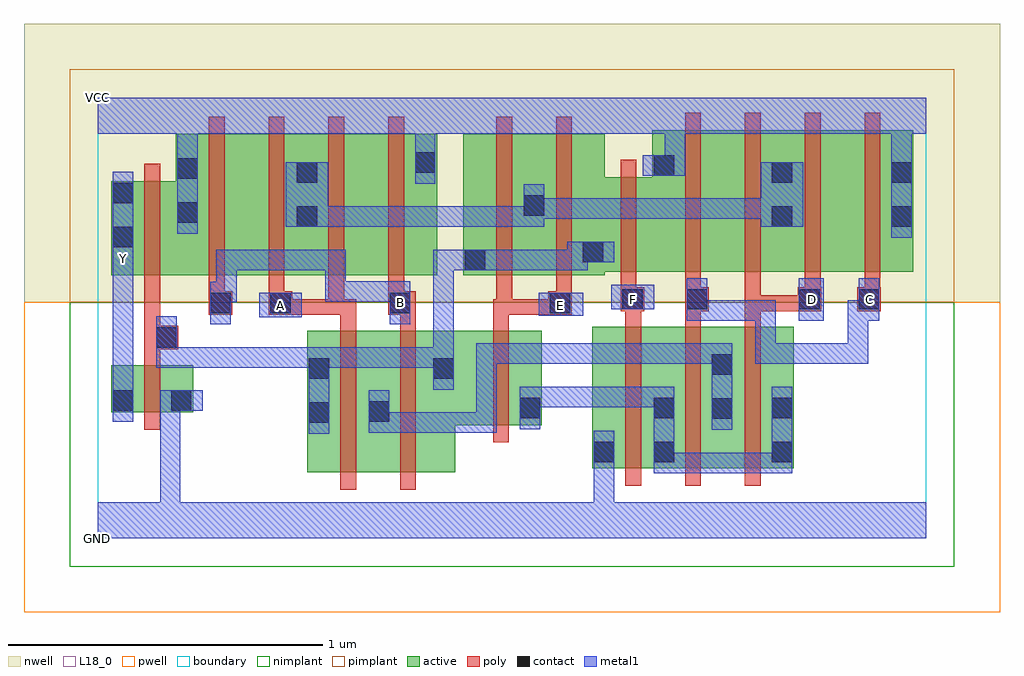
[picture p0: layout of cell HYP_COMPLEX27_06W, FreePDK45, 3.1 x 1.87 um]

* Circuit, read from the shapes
.subckt HYP_COMPLEX27_06W A B C D E F GND VCC Y
M1 GND n1 Y VSUBS nfet w=0.15u l=0.05u
M2 n2 A n1 VSUBS nfet w=0.45u l=0.05u
M3 n1 B n2 VSUBS nfet w=0.45u l=0.05u
M4 n3 E n1 VSUBS nfet w=0.3u l=0.05u
M5 n3 F GND VSUBS nfet w=0.45u l=0.05u
M6 n2 C n3 VSUBS nfet w=0.45u l=0.05u
M7 n3 D n2 VSUBS nfet w=0.45u l=0.05u
M8 VCC n1 Y n4 pfet w=0.3u l=0.05u
M9 n5 B VCC n4 pfet w=0.45u l=0.05u
M10 n6 A n5 n4 pfet w=0.45u l=0.05u
M11 n7 A n6 n4 pfet w=0.45u l=0.05u
M12 VCC B n7 n4 pfet w=0.45u l=0.05u
M13 n6 E n1 n4 pfet w=0.45u l=0.05u m=2
M14 VCC F n1 n4 pfet w=0.3u l=0.05u
M15 n8 C VCC n4 pfet w=0.45u l=0.05u
M16 n6 D n8 n4 pfet w=0.45u l=0.05u
M17 n9 D n6 n4 pfet w=0.45u l=0.05u
M18 VCC C n9 n4 pfet w=0.45u l=0.05u
.ends

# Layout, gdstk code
import gdstk
lib = gdstk.Library(unit=1e-6, precision=1e-09)
def R(c, l, rs):  # rectangles x0, y0, x1, y1
    for r in rs: c.add(gdstk.rectangle(r[:2], r[2:], *l))
def A(c, l, x, y, w, h, nx, ny, dx, dy):  # array of equal rectangles
    R(c, l, [(x+i*dx, y+j*dy, x+i*dx+w, y+j*dy+h) for i in range(nx) for j in range(ny)])
active = (1, 0)
pwell = (2, 0)
nwell = (3, 0)
nimplant = (4, 0)
pimplant = (5, 0)
poly = (9, 0)
contact = (10, 0)
metal1 = (11, 0)
L18_0 = (18, 0)
boundary = (235, 0)

hyp_complex27_06w = lib.new_cell('HYP_COMPLEX27_06W')
R(hyp_complex27_06w, active, [(0.665,0.21,0.93,0.66), (0.855,0.21,1.135,0.66), (1.57,0.222,1.835,0.672), (1.57,0.222,1.645,0.542), (1.76,0.222,2.02,0.672), (1.945,0.222,2.21,0.672), (2.135,0.222,2.21,0.672), (1.76,0.232,1.835,0.542), (0.665,0.245,0.74,0.66), (0.855,0.245,0.93,0.542), (1.945,0.245,2.02,0.59), (1.06,0.33,1.135,0.577), (1.06,0.36,1.41,0.66), (1.335,0.36,1.41,0.547), (0.042,0.4,0.117,0.55), (0.042,0.4,0.302,0.55), (0.227,0.4,0.302,0.55), (0.042,0.835,0.322,1.135), (0.042,0.835,0.117,1.135), (0.247,0.835,0.472,1.285), (0.247,0.835,0.322,1.212), (0.472,0.835,0.702,1.285), (0.627,0.835,0.852,1.285), (0.852,0.835,1.077,1.285), (1.16,0.835,1.422,1.285), (1.16,0.835,1.235,1.047), (1.347,0.835,1.61,1.285), (1.535,0.847,1.835,1.147), (1.76,0.847,1.985,1.297), (1.985,0.847,2.21,1.297), (2.135,0.847,2.365,1.297), (2.365,0.847,2.59,1.297), (2.515,0.847,2.59,1.255), (1.76,0.852,1.835,1.222), (0.627,0.857,0.702,1.2), (1.002,0.857,1.077,1.255), (1.347,0.857,1.422,1.2), (2.135,0.857,2.21,1.2), (1.535,0.872,1.61,1.07)])
R(hyp_complex27_06w, pwell, [(-0.235,-0.235,2.865,0.75)])
R(hyp_complex27_06w, nwell, [(-0.235,0.75,2.865,1.635)])
R(hyp_complex27_06w, nimplant, [(-0.09,-0.09,2.72,0.75)])
R(hyp_complex27_06w, pimplant, [(-0.09,0.75,2.72,1.49)])
A(hyp_complex27_06w, poly, 1.675, 0.167, 0.05, 0.56, 3, 1, 0.19, 0)
A(hyp_complex27_06w, poly, 1.675, 0.677, 0.05, 0.095, 3, 1, 0.19, 0)
A(hyp_complex27_06w, poly, 0.352, 0.78, 0.05, 0.56, 4, 1, 0.19, 0)
A(hyp_complex27_06w, poly, 1.865, 0.792, 0.05, 0.56, 4, 1, 0.19, 0)
R(hyp_complex27_06w, poly, [(0.77,0.155,0.82,0.715), (0.96,0.155,1.01,0.715), (1.255,0.305,1.305,0.715), (0.147,0.345,0.197,0.605), (0.147,0.555,0.197,0.65), (0.147,0.6,0.255,0.675), (0.147,0.625,0.197,0.83), (0.77,0.665,0.82,0.76), (0.96,0.665,1.01,0.76), (1.255,0.665,1.305,0.76), (0.352,0.71,0.427,0.785), (0.542,0.71,0.617,0.785), (0.567,0.71,0.617,0.76), (0.567,0.71,0.617,0.76), (0.567,0.71,0.782,0.76), (0.732,0.71,0.782,0.83), (0.732,0.71,0.82,0.76), (0.922,0.71,1.01,0.785), (1.255,0.71,1.315,0.76), (1.265,0.71,1.315,0.76), (1.265,0.71,1.315,0.76), (1.265,0.71,1.315,0.83), (1.265,0.71,1.48,0.76), (1.43,0.71,1.505,0.785), (1.66,0.722,1.735,0.797), (1.865,0.722,1.94,0.797), (2.055,0.722,2.272,0.772), (2.055,0.722,2.105,0.772), (2.055,0.722,2.105,0.772), (2.055,0.722,2.105,0.772), (2.055,0.722,2.105,0.842), (2.222,0.722,2.297,0.797), (2.412,0.722,2.487,0.797), (0.352,0.735,0.402,0.83), (0.542,0.735,0.592,0.83), (0.922,0.735,0.972,0.83), (1.455,0.735,1.505,0.83), (1.66,0.747,1.71,0.842), (1.865,0.747,1.915,0.842), (2.245,0.747,2.295,0.842), (2.435,0.747,2.485,0.842), (0.147,0.78,0.197,1.19), (1.265,0.78,1.315,1.34), (1.455,0.78,1.505,1.34), (1.66,0.792,1.71,1.202)])
R(hyp_complex27_06w, contact, [(1.575,0.242,1.64,0.307), (1.765,0.242,1.83,0.307), (2.14,0.242,2.205,0.307), (0.67,0.367,0.735,0.432), (0.86,0.37,0.925,0.435), (1.95,0.38,2.015,0.445), (1.34,0.382,1.405,0.447), (1.765,0.382,1.83,0.447), (2.14,0.382,2.205,0.447), (0.047,0.405,0.112,0.47), (0.232,0.405,0.297,0.47), (0.67,0.507,0.735,0.572), (1.065,0.507,1.13,0.572), (1.95,0.52,2.015,0.585), (0.185,0.605,0.25,0.67), (0.357,0.715,0.422,0.78), (0.547,0.715,0.612,0.78), (0.927,0.715,0.992,0.78), (1.435,0.715,1.5,0.78), (1.665,0.727,1.73,0.792), (1.87,0.727,1.935,0.792), (2.227,0.727,2.292,0.792), (2.417,0.727,2.482,0.792), (1.165,0.852,1.23,0.917), (1.54,0.877,1.605,0.942), (0.047,0.925,0.112,0.99), (0.632,0.99,0.697,1.055), (2.14,0.99,2.205,1.055), (2.52,0.99,2.585,1.055), (0.252,1.002,0.317,1.067), (1.352,1.025,1.417,1.09), (0.047,1.065,0.112,1.13), (0.632,1.13,0.697,1.195), (2.14,1.13,2.205,1.195), (2.52,1.13,2.585,1.195), (0.252,1.142,0.317,1.207), (1.765,1.152,1.83,1.217), (1.007,1.162,1.072,1.227)])
R(hyp_complex27_06w, metal1, [(0,0,2.63,0.115), (0.197,0.05,0.262,0.47), (1.575,0.05,1.64,0.272), (1.575,0.207,1.64,0.342), (1.575,0.207,1.64,0.272), (1.575,0.207,1.64,0.272), (1.765,0.207,1.83,0.482), (1.765,0.207,1.83,0.272), (1.765,0.207,1.83,0.272), (1.765,0.207,2.015,0.272), (1.95,0.207,2.015,0.272), (1.95,0.207,2.072,0.272), (2.007,0.207,2.072,0.272), (2.007,0.207,2.205,0.272), (2.14,0.207,2.205,0.482), (0.67,0.332,0.735,0.607), (0.86,0.335,0.925,0.47), (0.86,0.335,1.057,0.4), (0.992,0.335,1.057,0.4), (0.992,0.335,1.062,0.4), (0.997,0.335,1.062,0.4), (0.997,0.335,1.267,0.4), (1.202,0.335,1.267,0.4), (1.202,0.335,1.267,0.62), (1.95,0.345,2.015,0.62), (1.34,0.347,1.405,0.482), (0.047,0.37,0.112,0.505), (0.197,0.405,0.262,0.47), (0.197,0.405,0.262,0.47), (0.197,0.405,0.262,0.47), (0.197,0.405,0.262,0.47), (0.197,0.405,0.262,0.47), (0.197,0.405,0.262,0.47), (0.197,0.405,0.332,0.47), (1.34,0.417,1.555,0.482), (1.49,0.417,1.555,0.482), (1.49,0.417,1.555,0.482), (1.49,0.417,1.555,0.482), (1.49,0.417,1.692,0.482), (1.627,0.417,1.692,0.482), (1.627,0.417,1.83,0.482), (0.047,0.44,0.112,0.887), (1.065,0.472,1.13,0.607), (0.185,0.542,0.25,0.607), (0.185,0.542,0.422,0.607), (0.185,0.542,0.25,0.635), (0.357,0.542,0.422,0.607), (0.357,0.542,0.512,0.607), (0.447,0.542,0.512,0.607), (0.447,0.542,0.56,0.607), (0.495,0.542,0.56,0.607), (0.495,0.542,0.735,0.607), (0.67,0.542,0.855,0.607), (0.79,0.542,0.855,0.607), (0.79,0.542,0.925,0.607), (0.86,0.542,0.925,0.607), (0.86,0.542,1.057,0.607), (0.992,0.542,1.057,0.607), (0.992,0.542,1.13,0.607), (1.065,0.542,1.13,0.917), (1.202,0.555,1.267,0.62), (1.202,0.555,1.28,0.62), (1.215,0.555,1.28,0.62), (1.215,0.555,1.417,0.62), (1.352,0.555,1.417,0.62), (1.352,0.555,1.417,0.62), (1.352,0.555,1.417,0.62), (1.352,0.555,1.582,0.62), (1.517,0.555,1.582,0.62), (1.517,0.555,1.692,0.62), (1.627,0.555,1.692,0.62), (1.627,0.555,1.832,0.62), (1.767,0.555,1.832,0.62), (1.767,0.555,1.832,0.62), (1.767,0.555,1.832,0.62), (1.767,0.555,2.015,0.62), (2.087,0.555,2.152,0.757), (2.087,0.555,2.152,0.62), (2.087,0.555,2.29,0.62), (2.225,0.555,2.29,0.62), (2.225,0.555,2.447,0.62), (2.382,0.555,2.447,0.757), (2.382,0.555,2.447,0.62), (0.185,0.57,0.25,0.705), (0.185,0.57,0.25,0.635), (0.185,0.57,0.25,0.635), (0.357,0.68,0.422,0.815), (0.927,0.68,0.992,0.817), (1.87,0.692,1.935,0.827), (1.87,0.692,2.015,0.757), (1.95,0.692,2.015,0.757), (1.95,0.692,2.152,0.757), (2.087,0.692,2.152,0.757), (2.087,0.692,2.152,0.757), (2.087,0.692,2.152,0.757), (2.225,0.692,2.305,0.827), (2.382,0.692,2.482,0.757), (2.382,0.692,2.447,0.757), (2.417,0.692,2.482,0.827), (0.512,0.702,0.647,0.78), (1.4,0.707,1.542,0.78), (1.63,0.727,1.767,0.805), (0.357,0.75,0.44,0.815), (0.375,0.75,0.44,0.815), (0.375,0.75,0.44,0.917), (0.722,0.752,0.787,0.817), (0.722,0.752,0.787,0.817), (0.722,0.752,0.787,0.817), (0.722,0.752,0.925,0.817), (0.722,0.752,0.787,0.917), (0.86,0.752,0.925,0.817), (0.86,0.752,0.992,0.817), (0.047,0.822,0.112,0.957), (0.375,0.852,0.44,0.917), (0.375,0.852,0.56,0.917), (0.495,0.852,0.56,0.917), (0.495,0.852,0.787,0.917), (0.722,0.852,0.787,0.917), (1.065,0.852,1.13,0.917), (1.065,0.852,1.195,0.917), (1.13,0.852,1.195,0.917), (1.13,0.852,1.195,0.917), (1.13,0.852,1.265,0.917), (1.2,0.852,1.28,0.917), (1.215,0.852,1.28,0.917), (1.215,0.852,1.417,0.917), (1.352,0.852,1.417,0.917), (1.352,0.852,1.555,0.917), (1.49,0.852,1.555,0.942), (1.49,0.877,1.57,0.942), (1.505,0.877,1.64,0.942), (0.047,0.89,0.112,1.165), (0.047,0.892,0.112,0.957), (2.52,0.955,2.585,1.23), (0.252,0.967,0.317,1.242), (0.597,0.99,0.732,1.195), (0.667,0.99,0.855,1.055), (0.79,0.99,0.855,1.055), (0.79,0.99,0.925,1.055), (0.86,0.99,0.925,1.055), (0.86,0.99,1.012,1.055), (0.947,0.99,1.012,1.055), (0.947,0.99,1.142,1.055), (1.077,0.99,1.142,1.055), (1.077,0.99,1.267,1.055), (1.202,0.99,1.267,1.055), (1.202,0.99,1.28,1.055), (1.215,0.99,1.28,1.055), (1.215,0.99,1.417,1.055), (1.352,0.99,1.417,1.125), (2.105,0.99,2.24,1.195), (1.352,1.015,1.417,1.08), (1.352,1.015,1.417,1.08), (1.352,1.015,1.577,1.08), (1.512,1.015,1.577,1.08), (1.512,1.015,1.692,1.08), (1.627,1.015,1.692,1.08), (1.627,1.015,1.83,1.08), (1.765,1.015,1.83,1.08), (1.765,1.015,1.83,1.08), (1.765,1.015,1.83,1.08), (1.765,1.015,1.83,1.08), (1.765,1.015,1.83,1.08), (1.765,1.015,1.97,1.08), (1.905,1.015,1.97,1.08), (1.905,1.015,2.072,1.08), (2.007,1.015,2.072,1.08), (2.007,1.015,2.17,1.08), (1.007,1.127,1.072,1.262), (1.73,1.152,1.865,1.217), (1.8,1.152,1.865,1.35), (2.52,1.165,2.585,1.35), (0.252,1.177,0.317,1.35), (1.007,1.197,1.072,1.35), (0,1.285,2.63,1.4)])
R(hyp_complex27_06w, L18_0, [(0,0,2.63,0.115), (0.197,0.05,0.262,0.47), (1.575,0.05,1.64,0.272), (1.575,0.207,1.64,0.342), (1.575,0.207,1.64,0.272), (1.575,0.207,1.64,0.272), (0.047,0.37,0.112,0.505), (0.197,0.405,0.262,0.47), (0.197,0.405,0.262,0.47), (0.197,0.405,0.262,0.47), (0.197,0.405,0.262,0.47), (0.197,0.405,0.262,0.47), (0.197,0.405,0.262,0.47), (0.197,0.405,0.332,0.47), (0.047,0.44,0.112,0.887), (2.087,0.555,2.152,0.62), (2.087,0.555,2.29,0.62), (2.087,0.555,2.152,0.757), (2.225,0.555,2.29,0.62), (2.225,0.555,2.447,0.62), (2.382,0.555,2.447,0.62), (2.382,0.555,2.447,0.757), (0.357,0.68,0.422,0.815), (0.927,0.68,0.992,0.817), (1.87,0.692,1.935,0.827), (1.87,0.692,2.015,0.757), (1.95,0.692,2.015,0.757), (1.95,0.692,2.152,0.757), (2.087,0.692,2.152,0.757), (2.087,0.692,2.152,0.757), (2.087,0.692,2.152,0.757), (2.225,0.692,2.305,0.827), (2.382,0.692,2.447,0.757), (2.382,0.692,2.482,0.757), (2.417,0.692,2.482,0.827), (0.512,0.702,0.647,0.78), (0.547,0.707,0.612,0.772), (1.4,0.707,1.542,0.78), (1.437,0.707,1.502,0.772), (0.927,0.717,0.992,0.782), (1.63,0.727,1.767,0.805), (1.667,0.727,1.732,0.792), (2.237,0.727,2.302,0.792), (2.417,0.727,2.482,0.792), (0.357,0.75,0.44,0.815), (0.375,0.75,0.44,0.815), (0.375,0.75,0.44,0.917), (0.722,0.752,0.787,0.817), (0.722,0.752,0.787,0.817), (0.722,0.752,0.787,0.817), (0.722,0.752,0.787,0.917), (0.722,0.752,0.925,0.817), (0.86,0.752,0.925,0.817), (0.86,0.752,0.992,0.817), (0.047,0.822,0.112,0.957), (0.375,0.852,0.44,0.917), (0.375,0.852,0.56,0.917), (0.495,0.852,0.56,0.917), (0.495,0.852,0.787,0.917), (0.722,0.852,0.787,0.917), (0.047,0.857,0.112,0.922), (0.047,0.89,0.112,1.165), (0.047,0.892,0.112,0.957), (2.52,0.955,2.585,1.23), (0.252,0.967,0.317,1.242), (1.007,1.127,1.072,1.262), (1.73,1.152,1.865,1.217), (1.8,1.152,1.865,1.35), (2.52,1.165,2.585,1.35), (0.252,1.177,0.317,1.35), (1.007,1.197,1.072,1.35), (0,1.285,2.63,1.4)])
R(hyp_complex27_06w, boundary, [(0,0,2.63,1.4)])
hyp_complex27_06w.add(gdstk.Label('A', (0.58,0.74), layer=11, texttype=0))
hyp_complex27_06w.add(gdstk.Label('B', (0.96,0.75), layer=11, texttype=0))
hyp_complex27_06w.add(gdstk.Label('C', (2.45,0.76), layer=11, texttype=0))
hyp_complex27_06w.add(gdstk.Label('D', (2.27,0.76), layer=11, texttype=0))
hyp_complex27_06w.add(gdstk.Label('E', (1.47,0.74), layer=11, texttype=0))
hyp_complex27_06w.add(gdstk.Label('F', (1.7,0.76), layer=11, texttype=0))
hyp_complex27_06w.add(gdstk.Label('Y', (0.08,0.89), layer=11, texttype=0))
hyp_complex27_06w.add(gdstk.Label('VCC', (0,1.4), layer=11, texttype=0))
hyp_complex27_06w.add(gdstk.Label('GND', (0,0), layer=11, texttype=0))

lib.write_gds('HYP_COMPLEX27_06W.gds')
